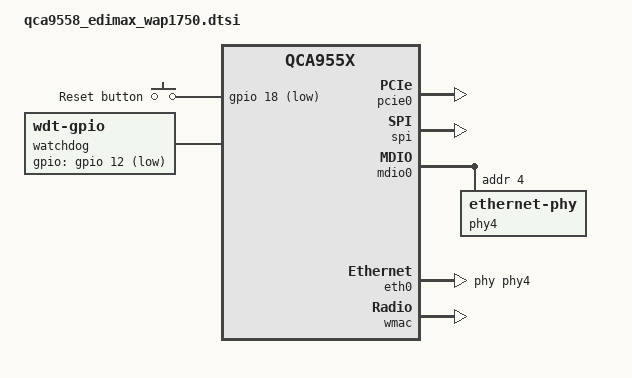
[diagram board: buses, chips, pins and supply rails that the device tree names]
// SPDX-License-Identifier: GPL-2.0-or-later OR MIT

#include "qca955x.dtsi"

#include <dt-bindings/gpio/gpio.h>
#include <dt-bindings/input/input.h>

/ {
	keys {
		compatible = "gpio-keys";

		reset {
			label = "Reset button";
			linux,code = <KEY_RESTART>;
			gpios = <&gpio 18 GPIO_ACTIVE_LOW>;
			debounce-interval = <60>;
		};
	};

	watchdog {
		compatible = "linux,wdt-gpio";
		gpios = <&gpio 12 GPIO_ACTIVE_LOW>;
		hw_algo = "toggle";
		hw_margin_ms = <300>;
		always-running;
	};
};

&pcie0 {
	status = "okay";
};

&spi {
	status = "okay";
};

&mdio0 {
	status = "okay";

	phy4: ethernet-phy@4 {
		reg = <4>;
		eee-broken-100tx;
		eee-broken-1000t;
	};
};

&eth0 {
	status = "okay";

	phy-handle = <&phy4>;

	gmac_config: gmac-config {
		device = <&gmac>;

		rgmii-enabled = <1>;
	};
};

&wmac {
	status = "okay";
};
